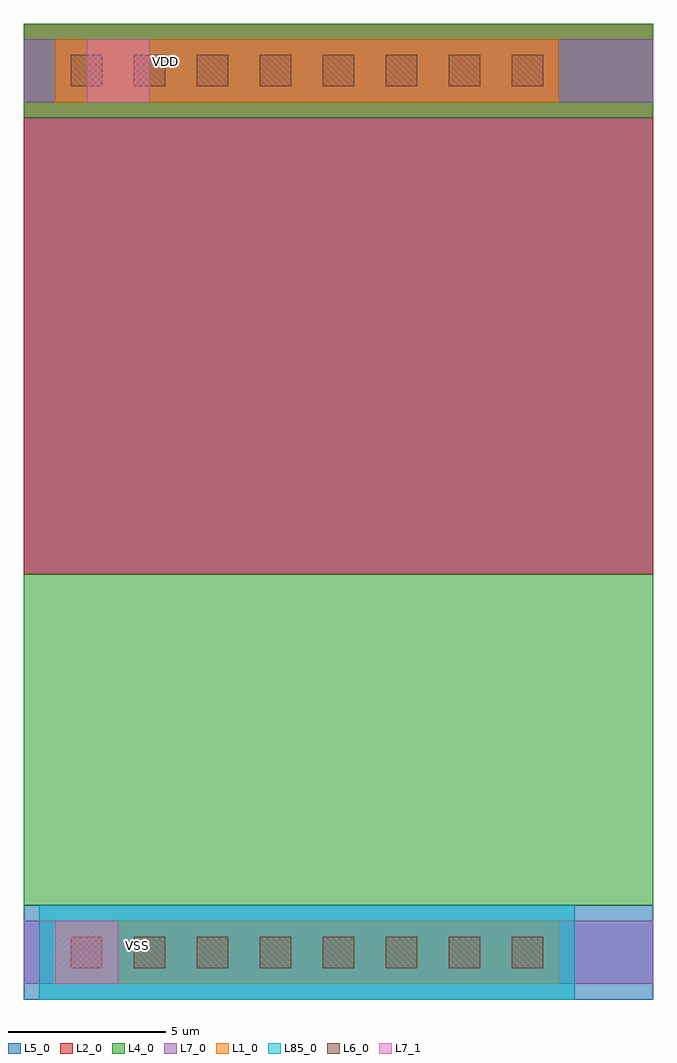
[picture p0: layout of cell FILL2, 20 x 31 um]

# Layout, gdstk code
import gdstk
lib = gdstk.Library(unit=1e-6, precision=5e-10)
def R(c, l, rs):  # rectangles x0, y0, x1, y1
    for r in rs: c.add(gdstk.rectangle(r[:2], r[2:], *l))
def A(c, l, x, y, w, h, nx, ny, dx, dy):  # array of equal rectangles
    R(c, l, [(x+i*dx, y+j*dy, x+i*dx+w, y+j*dy+h) for i in range(nx) for j in range(ny)])
L1_0 = (1, 0)
L2_0 = (2, 0)
L4_0 = (4, 0)
L5_0 = (5, 0)
L6_0 = (6, 0)
L7_0 = (7, 0)
L7_1 = (7, 1)
L85_0 = (85, 0)

m1_nwell_cdns_1 = lib.new_cell('M1_NWELL_CDNS_1')
R(m1_nwell_cdns_1, L1_0, [(-8,-1,8,1)])
R(m1_nwell_cdns_1, L2_0, [(-8.5,-1.5,8.5,1.5)])
R(m1_nwell_cdns_1, L4_0, [(-8.5,-1.5,8.5,1.5)])
A(m1_nwell_cdns_1, L6_0, -7.5, -0.5, 1, 1, 8, 1, 2, 0)
R(m1_nwell_cdns_1, L7_0, [(-8,-1,8,1)])

m1_psub_cdns_2 = lib.new_cell('M1_PSUB_CDNS_2')
R(m1_psub_cdns_2, L1_0, [(-8,-1,8,1)])
R(m1_psub_cdns_2, L5_0, [(-8.5,-1.5,8.5,1.5)])
A(m1_psub_cdns_2, L6_0, -7.5, -0.5, 1, 1, 8, 1, 2, 0)
R(m1_psub_cdns_2, L7_0, [(-8,-1,8,1)])
R(m1_psub_cdns_2, L85_0, [(-8.5,-1.5,8.5,1.5)])

fill2 = lib.new_cell('FILL2')
R(fill2, L2_0, [(0,12,20,29.5)])
R(fill2, L4_0, [(0,1.5,20,12), (0,26.5,20,29.5)])
R(fill2, L5_0, [(0,-1.5,20,1.5), (0,12,20,26.5)])
R(fill2, L7_0, [(0,-1,20,1), (0,27,20,29)])
R(fill2, L7_1, [(1,-1,3,1), (2,27,4,29)])
fill2.add(gdstk.Reference(m1_nwell_cdns_1, (9,28)))
fill2.add(gdstk.Reference(m1_psub_cdns_2, (9,0)))
fill2.add(gdstk.Label('VSS', (3.6,0.2), layer=7, texttype=3))
fill2.add(gdstk.Label('VDD', (4.5,28.3), layer=7, texttype=3))

lib.write_gds('FILL2.gds')
